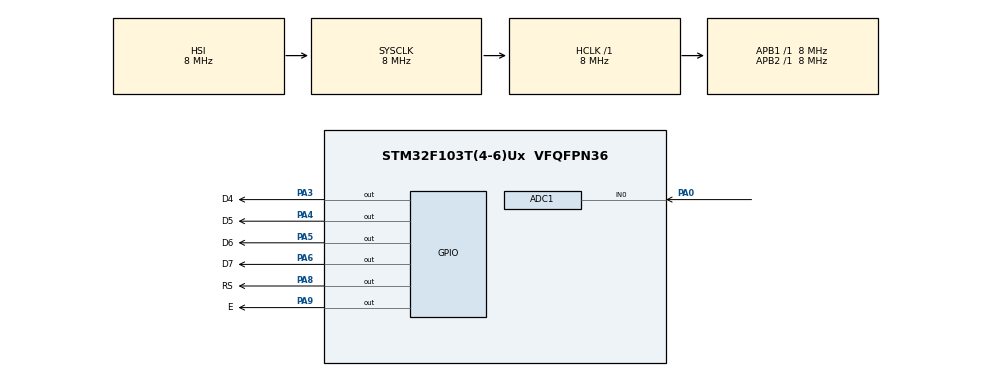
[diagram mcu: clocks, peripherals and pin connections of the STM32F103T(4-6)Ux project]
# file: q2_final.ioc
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ADC1.Channel-0\#ChannelRegularConversion=ADC_CHANNEL_0
ADC1.ContinuousConvMode=ENABLE
ADC1.NbrOfConversionFlag=1
ADC1.Rank-0\#ChannelRegularConversion=1
ADC1.SamplingTime-0\#ChannelRegularConversion=ADC_SAMPLETIME_1CYCLE_5
ADC1.master=1
Mcu.Family=STM32F1
Mcu.Name=STM32F103T(4-6)Ux
Mcu.Package=VFQFPN36
NVIC.PriorityGroup=NVIC_PRIORITYGROUP_4
PA0-WKUP.Signal=ADCx_IN0
PA3.GPIO_Label=D4
PA3.Signal=GPIO_Output
PA4.GPIO_Label=D5
PA4.Signal=GPIO_Output
PA5.GPIO_Label=D6
PA5.Signal=GPIO_Output
PA6.GPIO_Label=D7
PA6.Signal=GPIO_Output
PA8.GPIO_Label=RS
PA8.Signal=GPIO_Output
PA9.GPIO_Label=E
PA9.Signal=GPIO_Output
ProjectManager.HeapSize=0x200
ProjectManager.StackSize=0x400
ProjectManager.TargetToolchain=STM32CubeIDE
RCC.AHBFreq_Value=8000000
RCC.APB1Freq_Value=8000000
RCC.APB1TimFreq_Value=8000000
RCC.APB2Freq_Value=8000000
RCC.APB2TimFreq_Value=8000000
RCC.HCLKFreq_Value=8000000
RCC.SYSCLKFreq_VALUE=8000000
RCC.USBFreq_Value=8000000
SH.ADCx_IN0.0=ADC1_IN0,IN0
VP_SYS_VS_ND.Mode=No_Debug
board=custom

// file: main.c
/* USER CODE BEGIN Header */
/**
  ******************************************************************************
  * @file           : main.c
  * @brief          : Main program body
  ******************************************************************************
  * @attention
  *
  * Copyright (c) 2022 STMicroelectronics.
  * All rights reserved.
  *
  * This software is licensed under terms that can be found in the LICENSE file
  * in the root directory of this software component.
  * If no LICENSE file comes with this software, it is provided AS-IS.
  *
  ******************************************************************************
  */
/* USER CODE END Header */
#include "main.h"

/* USER CODE BEGIN Includes */
#include "lcd.h"
#include "stdio.h"
/* USER CODE END Includes */

 ADC_HandleTypeDef hadc1;

void SystemClock_Config(void);
static void MX_GPIO_Init(void);
static void MX_ADC1_Init(void);

/* USER CODE BEGIN 0 */
uint32_t adcVal;
/* USER CODE END 0 */

int main(void)
{

  /* MCU Configuration--------------------------------------------------------*/

  /* Reset of all peripherals, Initializes the Flash interface and the Systick. */
  HAL_Init();

  /* Configure the system clock */
  SystemClock_Config();

  /* Initialize all configured peripherals */
  MX_GPIO_Init();
  MX_ADC1_Init();
  /* USER CODE BEGIN 2 */
  Lcd_PortType ports [] = {
          		D4_GPIO_Port, D5_GPIO_Port, D6_GPIO_Port, D7_GPIO_Port
        };
        Lcd_PinType pins [] = {
          	   D4_Pin, D5_Pin, D6_Pin, D7_Pin
        };

        Lcd_HandleTypeDef lcd = Lcd_create(ports, pins, RS_GPIO_Port, RS_Pin, E_GPIO_Port, E_Pin, LCD_4_BIT_MODE);
        float Vref = 3.5;
        float weight = 0;
        float p1 = 0.01;
        float p2 = 0.5;
        float voltage_val = 1.0;
        HAL_ADC_Start(&hadc1);
  /* USER CODE END 2 */

  /* Infinite loop */
  while (1)
  {

    /* USER CODE BEGIN 3 */
	  adcVal = HAL_ADC_GetValue(&hadc1);
	  Lcd_clear(&lcd);
	  Lcd_cursor(&lcd, 0, 0);
	  voltage_val = adcVal * Vref / 4095.0;
	  weight = (voltage_val/p1) - (p2/p1);
	  Lcd_float(&lcd, weight);
	  HAL_Delay(10);
  }
  /* USER CODE END 3 */
}

void SystemClock_Config(void)
{
  RCC_OscInitTypeDef RCC_OscInitStruct = {0};
  RCC_ClkInitTypeDef RCC_ClkInitStruct = {0};
  RCC_PeriphCLKInitTypeDef PeriphClkInit = {0};

  /** Initializes the RCC Oscillators according to the specified parameters
  * in the RCC_OscInitTypeDef structure.
  */
  RCC_OscInitStruct.OscillatorType = RCC_OSCILLATORTYPE_HSI;
  RCC_OscInitStruct.HSIState = RCC_HSI_ON;
  RCC_OscInitStruct.HSICalibrationValue = RCC_HSICALIBRATION_DEFAULT;
  RCC_OscInitStruct.PLL.PLLState = RCC_PLL_NONE;
  if (HAL_RCC_OscConfig(&RCC_OscInitStruct) != HAL_OK)
  {
    Error_Handler();
  }

  /** Initializes the CPU, AHB and APB buses clocks
  */
  RCC_ClkInitStruct.ClockType = RCC_CLOCKTYPE_HCLK|RCC_CLOCKTYPE_SYSCLK
                              |RCC_CLOCKTYPE_PCLK1|RCC_CLOCKTYPE_PCLK2;
  RCC_ClkInitStruct.SYSCLKSource = RCC_SYSCLKSOURCE_HSI;
  RCC_ClkInitStruct.AHBCLKDivider = RCC_SYSCLK_DIV1;
  RCC_ClkInitStruct.APB1CLKDivider = RCC_HCLK_DIV1;
  RCC_ClkInitStruct.APB2CLKDivider = RCC_HCLK_DIV1;

  if (HAL_RCC_ClockConfig(&RCC_ClkInitStruct, FLASH_LATENCY_0) != HAL_OK)
  {
    Error_Handler();
  }
  PeriphClkInit.PeriphClockSelection = RCC_PERIPHCLK_ADC;
  PeriphClkInit.AdcClockSelection = RCC_ADCPCLK2_DIV2;
  if (HAL_RCCEx_PeriphCLKConfig(&PeriphClkInit) != HAL_OK)
  {
    Error_Handler();
  }
}

static void MX_ADC1_Init(void)
{

  ADC_ChannelConfTypeDef sConfig = {0};

  /** Common config
  */
  hadc1.Instance = ADC1;
  hadc1.Init.ScanConvMode = ADC_SCAN_DISABLE;
  hadc1.Init.ContinuousConvMode = ENABLE;
  hadc1.Init.DiscontinuousConvMode = DISABLE;
  hadc1.Init.ExternalTrigConv = ADC_SOFTWARE_START;
  hadc1.Init.DataAlign = ADC_DATAALIGN_RIGHT;
  hadc1.Init.NbrOfConversion = 1;
  if (HAL_ADC_Init(&hadc1) != HAL_OK)
  {
    Error_Handler();
  }

  /** Configure Regular Channel
  */
  sConfig.Channel = ADC_CHANNEL_0;
  sConfig.Rank = ADC_REGULAR_RANK_1;
  sConfig.SamplingTime = ADC_SAMPLETIME_1CYCLE_5;
  if (HAL_ADC_ConfigChannel(&hadc1, &sConfig) != HAL_OK)
  {
    Error_Handler();
  }

}

static void MX_GPIO_Init(void)
{
  GPIO_InitTypeDef GPIO_InitStruct = {0};

  /* GPIO Ports Clock Enable */
  __HAL_RCC_GPIOA_CLK_ENABLE();

  /*Configure GPIO pin Output Level */
  HAL_GPIO_WritePin(GPIOA, D4_Pin|D5_Pin|D6_Pin|D7_Pin
                          |RS_Pin|E_Pin, GPIO_PIN_RESET);

  /*Configure GPIO pins : D4_Pin D5_Pin D6_Pin D7_Pin
                           RS_Pin E_Pin */
  GPIO_InitStruct.Pin = D4_Pin|D5_Pin|D6_Pin|D7_Pin
                          |RS_Pin|E_Pin;
  GPIO_InitStruct.Mode = GPIO_MODE_OUTPUT_PP;
  GPIO_InitStruct.Pull = GPIO_NOPULL;
  GPIO_InitStruct.Speed = GPIO_SPEED_FREQ_LOW;
  HAL_GPIO_Init(GPIOA, &GPIO_InitStruct);

}

void Error_Handler(void)
{
  __disable_irq();
  while (1)
  {
  }
}
